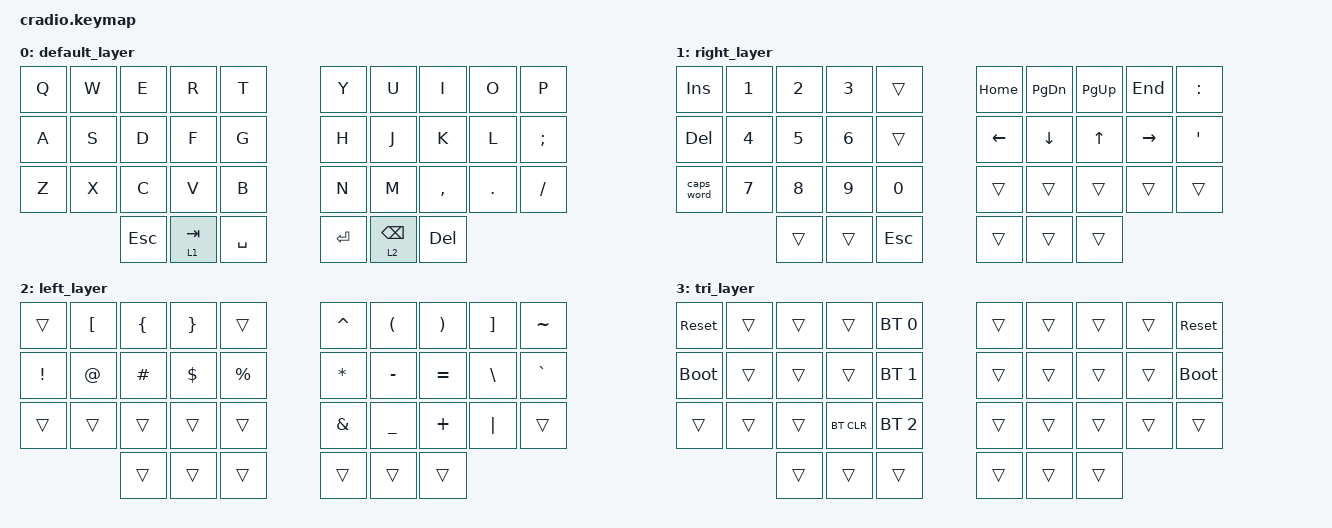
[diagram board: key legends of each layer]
// Copyright (c) 2022 The ZMK Contributors
// SPDX-License-Identifier: MIT

#include <behaviors.dtsi>
#include <dt-bindings/zmk/keys.h>
#include <dt-bindings/zmk/bt.h>

// Home row mods macro
#define HRML(k1,k2,k3,k4) &ht LSHFT k1 &ht LALT  k2  &ht LCTRL k3  &ht LGUI  k4
#define HRMR(k1,k2,k3,k4) &ht RGUI  k1 &ht RCTRL k2  &ht RALT  k3  &ht RSHFT k4

/ {
    behaviors {
        ht: hold_tap {
            compatible = "zmk,behavior-hold-tap";
            #binding-cells = <2>;
            flavor = "tap-preferred";
            tapping-term-ms = <220>;
            quick-tap-ms = <150>;
            require-prior-idle-ms = <100>;
            bindings = <&kp>, <&kp>;
        };
    };

    conditional_layers {
        compatible = "zmk,conditional-layers";
        tri_layer {
            if-layers = <1 2>;
            then-layer = <3>;
        };
    };


    keymap {
        compatible = "zmk,keymap";
        default_layer {
            bindings = <
        //╭──────────┬──────────┬──────────┬──────────┬──────────╮   ╭──────────┬──────────┬──────────┬──────────┬──────────╮
        //│  Q       │  W       │  E       │  R       │  T       │   │  Y       │  U       │  I       │  O       │  P       │
        //├──────────┼──────────┼──────────┼──────────┼──────────┤   ├──────────┼──────────┼──────────┼──────────┼──────────┤
        //│  A       │  S       │  D       │  F       │  G       │   │  H       │  J       │  K       │  L       │ ;        │
        //├──────────┼──────────┼──────────┼──────────┼──────────┤   ├──────────┼──────────┼──────────┼──────────┼──────────┤
        //│  Z       │  X       │  C       │  V       │  B       │   │  N       │  M       │ , <      │ . >      │ / ?      │
        //╰──────────┴──────────┴──────────┼──────────┼──────────┤   ├──────────┼──────────┼──────────┴──────────┴──────────╯
        //                      |  ESC     |  L1/TAB  | SPACE    |   | ENT      | L2/BSPC  | DEK      |
        //                      ╰──────────┴──────────┴──────────╯   ╰──────────┴──────────┴──────────╯
            &kp Q      &kp W      &kp E      &kp R      &kp T          &kp Y      &kp U       &kp I      &kp O      &kp P
            &kp A      &kp S      &kp D      &kp F      &kp G          &kp H      &kp J       &kp K      &kp L      &kp SEMI 
            &kp Z      &kp X      &kp C      &kp V      &kp B          &kp N      &kp M       &kp COMMA  &kp DOT    &kp FSLH
                                  &kp ESC    &lt 1 TAB  &kp SPACE      &kp ENTER  &lt 2 BSPC  &kp DEL
            >;
        };
  
        right_layer {
            bindings = <
        //╭──────────┬──────────┬──────────┬──────────┬──────────╮   ╭──────────┬──────────┬──────────┬──────────┬──────────╮
        //│ INSERT   │  1       │  2       │  3       │          │   │ HOME     │ PAGE DN  │ PAGE UP  │ END      │  :       │
        //├──────────┼──────────┼──────────┼──────────┼──────────┤   ├──────────┼──────────┼──────────┼──────────┼──────────┤
        //│ DELETE   │  4       │  5       │  6       │          │   │ LEFT     │ DOWN     │ UP       │ RIGHT    │  ' "     │
        //├──────────┼──────────┼──────────┼──────────┼──────────┤   ├──────────┼──────────┼──────────┼──────────┼──────────┤
        //│ CAPS     │  7       │  8       │  9       │  0       │   │          │          │          │          │          │
        //╰──────────┴──────────┴──────────┼──────────┼──────────┤   ├──────────┼──────────┼──────────┴──────────┴──────────╯
        //                      |     *    |  *       | ESC      |   | *        | *        | *        |
        //                      ╰──────────┴──────────┴──────────╯   ╰──────────┴──────────┴──────────╯
            &kp INS    &kp N1     &kp N2     &kp N3     &trans         &kp HOME   &kp PG_DN  &kp PG_UP  &kp END    &kp COLON
            &kp DEL    &kp N4     &kp N5     &kp N6     &trans         &kp LEFT   &kp DOWN   &kp UP   &kp RIGHT    &kp SQT
           &caps_word  &kp N7     &kp N8     &kp N9     &kp N0         &trans     &trans     &trans     &trans     &trans
                                   &trans    &trans     &kp ESC        &trans     &trans     &trans 
            >;
        };

        left_layer {
            bindings = <
        //╭──────────┬──────────┬──────────┬──────────┬──────────╮   ╭──────────┬──────────┬──────────┬──────────┬──────────╮
        //│          │  [       │  {       │  }       │          │   │  ^       │  (       │  )       │  ]       │  ~       │
        //├──────────┼──────────┼──────────┼──────────┼──────────┤   ├──────────┼──────────┼──────────┼──────────┼──────────┤
        //│  !       │  @       │  #       │  $       │  %       │   │  *       │  -       │  =       │  \       │  `       │
        //├──────────┼──────────┼──────────┼──────────┼──────────┤   ├──────────┼──────────┼──────────┼──────────┼──────────┤
        //│          │          │          │          │          │   │  &       │  _       │  +       │  │       │          │
        //╰──────────┴──────────┴──────────┼──────────┼──────────┤   ├──────────┼──────────┼──────────┴──────────┴──────────╯
        //                      |     *    |  *       | *        |   | *        | *        | *        |
        //                      ╰──────────┴──────────┴──────────╯   ╰──────────┴──────────┴──────────╯
            &trans     &kp LBKT   &kp LBRC   &kp RBRC   &trans         &kp CARET  &kp LPAR   &kp RPAR   &kp RBKT   &kp TILDE
            &kp EXCL   &kp AT     &kp HASH   &kp DLLR   &kp PRCNT      &kp ASTRK  &kp MINUS  &kp EQUAL  &kp BSLH   &kp GRAVE
            &trans     &trans     &trans     &trans     &trans         &kp AMPS   &kp UNDER  &kp PLUS   &kp PIPE   &trans
                                  &trans     &trans     &trans         &trans     &trans     &trans 
            >;
        };

        tri_layer {
            bindings = <
        //╭──────────┬──────────┬──────────┬──────────┬──────────╮   ╭──────────┬──────────┬──────────┬──────────┬──────────╮
        //│ RESET    │          │          │          │PROFILE 0 │   │          │          │          │          │  RESET   │
        //├──────────┼──────────┼──────────┼──────────┼──────────┤   ├──────────┼──────────┼──────────┼──────────┼──────────┤
        //│BOOTLOADER│          │          │          │PROFILE 1 │   │          │          │          │          │BOOTLOADER│
        //├──────────┼──────────┼──────────┼──────────┼──────────┤   ├──────────┼──────────┼──────────┼──────────┼──────────┤
        //│          │          │          │ CLEAR BT │PROFILE 2 │   │          │          │          │          │          │
        //╰──────────┴──────────┴──────────┼──────────┼──────────┤   ├──────────┼──────────┼──────────┴──────────┴──────────╯
        //                      |     *    |  *       | *        |   | *        | *        | *        |
        //                      ╰──────────┴──────────┴──────────╯   ╰──────────┴──────────┴──────────╯
           &sys_reset  &trans     &trans     &trans    &bt BT_SEL 0    &trans     &trans     &trans     &trans    &sys_reset
          &bootloader  &trans     &trans     &trans    &bt BT_SEL 1    &trans     &trans     &trans     &trans    &bootloader
            &trans     &trans     &trans    &bt BT_CLR &bt BT_SEL 2    &trans     &trans     &trans     &trans     &trans
                                  &trans     &trans     &trans         &trans     &trans     &trans 
            >;
        };
    };



};
